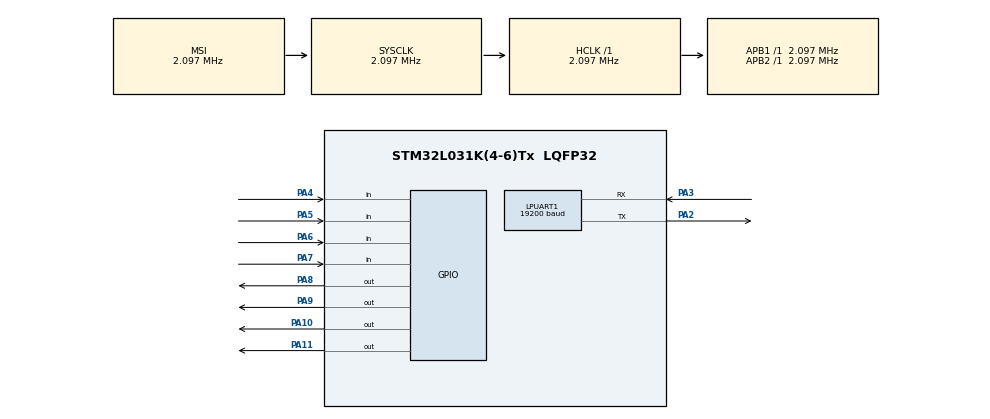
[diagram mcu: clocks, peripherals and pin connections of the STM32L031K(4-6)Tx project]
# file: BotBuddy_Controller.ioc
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LPUART1.BaudRate=19200
LPUART1.WordLength=UART_WORDLENGTH_8B
Mcu.Family=STM32L0
Mcu.Name=STM32L031K(4-6)Tx
Mcu.Package=LQFP32
PA10.GPIO_ModeDefaultOutputPP=GPIO_MODE_OUTPUT_PP
PA10.GPIO_PuPd=GPIO_NOPULL
PA10.PinState=GPIO_PIN_SET
PA10.Signal=GPIO_Output
PA11.GPIO_ModeDefaultOutputPP=GPIO_MODE_OUTPUT_PP
PA11.GPIO_PuPd=GPIO_NOPULL
PA11.PinState=GPIO_PIN_SET
PA11.Signal=GPIO_Output
PA2.Mode=Asynchronous
PA2.Signal=LPUART1_TX
PA3.Mode=Asynchronous
PA3.Signal=LPUART1_RX
PA4.Signal=GPIO_Input
PA5.Signal=GPIO_Input
PA6.Signal=GPIO_Input
PA7.Signal=GPIO_Input
PA8.GPIO_ModeDefaultOutputPP=GPIO_MODE_OUTPUT_PP
PA8.GPIO_PuPd=GPIO_NOPULL
PA8.PinState=GPIO_PIN_SET
PA8.Signal=GPIO_Output
PA9.GPIO_ModeDefaultOutputPP=GPIO_MODE_OUTPUT_PP
PA9.GPIO_PuPd=GPIO_NOPULL
PA9.PinState=GPIO_PIN_SET
PA9.Signal=GPIO_Output
ProjectManager.HeapSize=0x200
ProjectManager.StackSize=0x400
ProjectManager.TargetToolchain=STM32CubeIDE
RCC.AHBFreq_Value=2097000
RCC.APB1Freq_Value=2097000
RCC.APB1TimFreq_Value=2097000
RCC.APB2Freq_Value=2097000
RCC.APB2TimFreq_Value=2097000
RCC.HSE_VALUE=8000000
RCC.HSI16_VALUE=16000000
RCC.HSI_VALUE=16000000
RCC.LSE_VALUE=32768
RCC.MSI_VALUE=2097000
RCC.SYSCLKFreq_VALUE=2097000
RCC.VCOOutputFreq_Value=48000000
board=custom

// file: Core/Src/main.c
/* USER CODE BEGIN Header */
/**
  ******************************************************************************
  * @file           : main.c
  * @brief          : Main program body
  ******************************************************************************
  * @attention
  *
  * Copyright (c) 2024 STMicroelectronics.
  * All rights reserved.
  *
  * This software is licensed under terms that can be found in the LICENSE file
  * in the root directory of this software component.
  * If no LICENSE file comes with this software, it is provided AS-IS.
  *
  ******************************************************************************
  */
/* USER CODE END Header */
#include "main.h"

/* USER CODE BEGIN PD */

// instructions to output through transmitter (offset by 1 for the write pin)
#define FORWARD		8 //7 plus write pin
#define BACKWARD	9 //8 plus write pin
#define LEFT		10 //9 plus write pin
#define RIGHT		11 //10 plus write pin

/* USER CODE END PD */

UART_HandleTypeDef hlpuart1;

/* USER CODE BEGIN PV */

/* Define transmitter button state */
volatile unsigned char tm_button_state; // [X, X, X, X, write, t2, t1, t0]

/* USER CODE END PV */

void SystemClock_Config(void);
static void MX_GPIO_Init(void);
static void MX_LPUART1_UART_Init(void);
/* USER CODE BEGIN PFP */

void event_loop(void);
static void READ_CONTROLLER(void);
static void DEBUG_BLINKY(void);

/* USER CODE END PFP */

int main(void)
{

  /* MCU Configuration--------------------------------------------------------*/

  /* Reset of all peripherals, Initializes the Flash interface and the Systick. */
  HAL_Init();

  /* Configure the system clock */
  SystemClock_Config();

  /* Initialize all configured peripherals */
  MX_GPIO_Init();
  MX_LPUART1_UART_Init();
  /* USER CODE BEGIN 2 */
  HAL_Delay(500);
  HAL_GPIO_WritePin(GPIOA, GPIO_PIN_11 | GPIO_PIN_10 | GPIO_PIN_9 | GPIO_PIN_8, 0);
  tm_button_state = 0x00;
  //DEBUG_BLINKY();
  event_loop();
  /* USER CODE END 2 */

  /* Infinite loop */
  while (1)
  {

  }
}

void SystemClock_Config(void)
{
  RCC_OscInitTypeDef RCC_OscInitStruct = {0};
  RCC_ClkInitTypeDef RCC_ClkInitStruct = {0};
  RCC_PeriphCLKInitTypeDef PeriphClkInit = {0};

  /** Configure the main internal regulator output voltage
  */
  __HAL_PWR_VOLTAGESCALING_CONFIG(PWR_REGULATOR_VOLTAGE_SCALE1);

  /** Initializes the RCC Oscillators according to the specified parameters
  * in the RCC_OscInitTypeDef structure.
  */
  RCC_OscInitStruct.OscillatorType = RCC_OSCILLATORTYPE_MSI;
  RCC_OscInitStruct.MSIState = RCC_MSI_ON;
  RCC_OscInitStruct.MSICalibrationValue = 0;
  RCC_OscInitStruct.MSIClockRange = RCC_MSIRANGE_5;
  RCC_OscInitStruct.PLL.PLLState = RCC_PLL_NONE;
  if (HAL_RCC_OscConfig(&RCC_OscInitStruct) != HAL_OK)
  {
    Error_Handler();
  }

  /** Initializes the CPU, AHB and APB buses clocks
  */
  RCC_ClkInitStruct.ClockType = RCC_CLOCKTYPE_HCLK|RCC_CLOCKTYPE_SYSCLK
                              |RCC_CLOCKTYPE_PCLK1|RCC_CLOCKTYPE_PCLK2;
  RCC_ClkInitStruct.SYSCLKSource = RCC_SYSCLKSOURCE_MSI;
  RCC_ClkInitStruct.AHBCLKDivider = RCC_SYSCLK_DIV1;
  RCC_ClkInitStruct.APB1CLKDivider = RCC_HCLK_DIV1;
  RCC_ClkInitStruct.APB2CLKDivider = RCC_HCLK_DIV1;

  if (HAL_RCC_ClockConfig(&RCC_ClkInitStruct, FLASH_LATENCY_0) != HAL_OK)
  {
    Error_Handler();
  }
  PeriphClkInit.PeriphClockSelection = RCC_PERIPHCLK_LPUART1;
  PeriphClkInit.Lpuart1ClockSelection = RCC_LPUART1CLKSOURCE_PCLK1;
  if (HAL_RCCEx_PeriphCLKConfig(&PeriphClkInit) != HAL_OK)
  {
    Error_Handler();
  }
}

static void MX_LPUART1_UART_Init(void)
{

  hlpuart1.Instance = LPUART1;
  hlpuart1.Init.BaudRate = 19200;
  hlpuart1.Init.WordLength = UART_WORDLENGTH_8B;
  hlpuart1.Init.StopBits = UART_STOPBITS_1;
  hlpuart1.Init.Parity = UART_PARITY_NONE;
  hlpuart1.Init.Mode = UART_MODE_TX_RX;
  hlpuart1.Init.HwFlowCtl = UART_HWCONTROL_NONE;
  hlpuart1.Init.OneBitSampling = UART_ONE_BIT_SAMPLE_DISABLE;
  hlpuart1.AdvancedInit.AdvFeatureInit = UART_ADVFEATURE_NO_INIT;
  if (HAL_UART_Init(&hlpuart1) != HAL_OK)
  {
    Error_Handler();
  }

}

static void MX_GPIO_Init(void)
{
  GPIO_InitTypeDef GPIO_InitStruct = {0};

  /* GPIO Ports Clock Enable */
  __HAL_RCC_GPIOA_CLK_ENABLE();

  /*Configure GPIO pin Output Level */
  HAL_GPIO_WritePin(GPIOA, GPIO_PIN_8|GPIO_PIN_9|GPIO_PIN_10|GPIO_PIN_11, GPIO_PIN_SET);

  /*Configure GPIO pins : PA4 PA5 PA6 PA7 */
  GPIO_InitStruct.Pin = GPIO_PIN_4|GPIO_PIN_5|GPIO_PIN_6|GPIO_PIN_7;
  GPIO_InitStruct.Mode = GPIO_MODE_INPUT;
  GPIO_InitStruct.Pull = GPIO_NOPULL;
  HAL_GPIO_Init(GPIOA, &GPIO_InitStruct);

  /*Configure GPIO pins : PA8 PA9 PA10 PA11 */
  GPIO_InitStruct.Pin = GPIO_PIN_8|GPIO_PIN_9|GPIO_PIN_10|GPIO_PIN_11;
  GPIO_InitStruct.Mode = GPIO_MODE_OUTPUT_PP;
  GPIO_InitStruct.Pull = GPIO_NOPULL;
  GPIO_InitStruct.Speed = GPIO_SPEED_FREQ_LOW;
  HAL_GPIO_Init(GPIOA, &GPIO_InitStruct);

}

/* USER CODE BEGIN 4 */
/* Event loop that handles our botbuddy when it is running */
void event_loop(void) {
	while(1){

		while(!tm_button_state){
			/* Continue polling the button state until one of them is pressed */
			READ_CONTROLLER();
		}

		/* Set output through transmitter to be sent to the receiver depending on the button state */
		switch(tm_button_state){
			/* GPIO_PIN_11 -> write pin
			 * GPIO_PIN_10 -> t2
			 * GPIO_PIN_10 -> t1
			 * GPIO_PIN_10 -> t0
			 * Our encodings are active low because the transmitter is
			 */
			case FORWARD:
				/* set write pin, and [t2, t1, t0] = [0, 0, 0] */
				HAL_GPIO_WritePin(GPIOA, GPIO_PIN_11 | GPIO_PIN_10 | GPIO_PIN_9 | GPIO_PIN_8, 0);

				/* Test for debugging */
				uint8_t Test1[] = "Forward!/n";
				HAL_UART_Transmit(&hlpuart1, Test1, sizeof(Test1), 10);

				break;

			case BACKWARD:
				/* set write pin, and [t2, t1, t0] = [0, 0, 1] */
				HAL_GPIO_WritePin(GPIOA, GPIO_PIN_11 | GPIO_PIN_10 | GPIO_PIN_9, 0);

				/* Test for debugging */
				uint8_t Test2[] = "Backward!/n";
				HAL_UART_Transmit(&hlpuart1, Test2, sizeof(Test2), 10);

				break;

			case LEFT:
				/* set write pin, and [t2, t1, t0] = [0, 1, 0] */
				HAL_GPIO_WritePin(GPIOA, GPIO_PIN_11 | GPIO_PIN_10 | GPIO_PIN_8, 0);

				/* Test for debugging */
				uint8_t Test3[] = "Left!/n";
				HAL_UART_Transmit(&hlpuart1, Test3, sizeof(Test3), 10);

				break;

			case RIGHT:
				/* set write pin, and [t2, t1, t0] = [0, 1, 1] */
				HAL_GPIO_WritePin(GPIOA, GPIO_PIN_11 | GPIO_PIN_10, 0);

				/* Test for debugging */
				uint8_t Test4[] = "Right!/n";
				HAL_UART_Transmit(&hlpuart1, Test4, sizeof(Test4), 10);

				break;
			}

		/* Give a delay in order for the reciver to decode and write to the motors */
		HAL_Delay(1000);

		/* reset write pin, and [t2, t1, t0] = [1, 1, 1] */
		HAL_GPIO_WritePin(GPIOA, GPIO_PIN_11 | GPIO_PIN_10 | GPIO_PIN_9 | GPIO_PIN_8, 1);

		/* extra delay just to be safe? */
		HAL_Delay(1000);

		/* Test for debugging */
		uint8_t Test5[] = "Done!\r\n";
		HAL_UART_Transmit(&hlpuart1, Test5, sizeof(Test5), 10);

		/* reset button state back to 0 for polling loop */
		tm_button_state = 0x00;
	}
}

/* Read the buttons passed in to determine what control operation to begin executing */
void READ_CONTROLLER(){
	if (HAL_GPIO_ReadPin (GPIOA, GPIO_PIN_4)) {tm_button_state = FORWARD;}
	else if (HAL_GPIO_ReadPin (GPIOA, GPIO_PIN_5)) {tm_button_state = BACKWARD;}
	else if (HAL_GPIO_ReadPin (GPIOA, GPIO_PIN_6)) {tm_button_state = LEFT;}
	else if (HAL_GPIO_ReadPin (GPIOA, GPIO_PIN_7)) {tm_button_state = RIGHT;}
	else {tm_button_state = 0x00;}
}

/* Helped debug transmitter signals */
void DEBUG_BLINKY(){
		HAL_GPIO_WritePin(GPIOA, GPIO_PIN_11, GPIO_PIN_SET);
		HAL_GPIO_WritePin(GPIOA, GPIO_PIN_10, GPIO_PIN_SET);
		HAL_GPIO_WritePin(GPIOA, GPIO_PIN_9, GPIO_PIN_SET);
		HAL_GPIO_WritePin(GPIOA, GPIO_PIN_8, GPIO_PIN_SET);
		HAL_Delay(500);
		HAL_GPIO_WritePin(GPIOA, GPIO_PIN_11, GPIO_PIN_RESET);
		HAL_GPIO_WritePin(GPIOA, GPIO_PIN_10, GPIO_PIN_RESET);
		HAL_GPIO_WritePin(GPIOA, GPIO_PIN_9, GPIO_PIN_RESET);
		HAL_GPIO_WritePin(GPIOA, GPIO_PIN_8, GPIO_PIN_RESET);
		HAL_Delay(500);
}
/* USER CODE END 4 */

void Error_Handler(void)
{
  __disable_irq();
  while (1)
  {
  }
}
